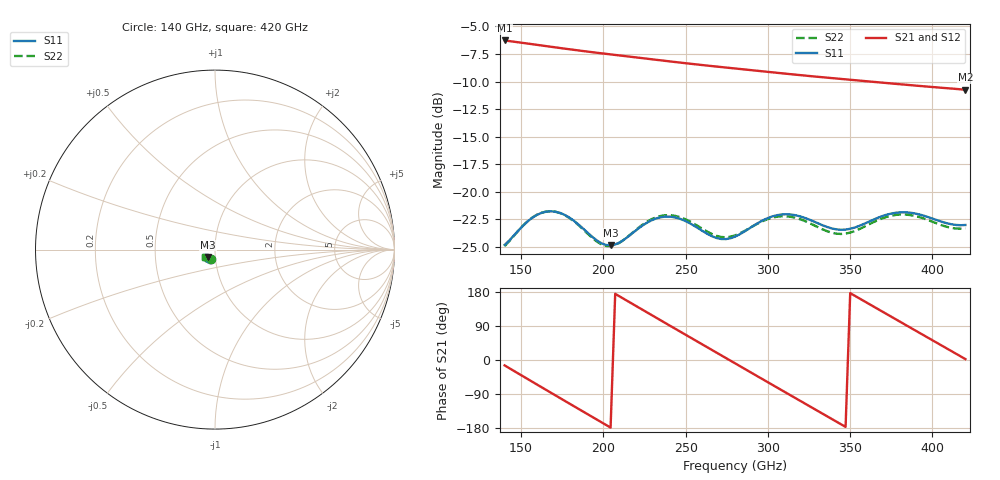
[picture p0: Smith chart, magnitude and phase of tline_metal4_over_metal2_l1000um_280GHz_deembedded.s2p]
! Created with skrf 2.2.0 (http://scikit-rf.org).
# GHz S DB R 50.0
! Port[1] = P1
! Port[2] = P2
!freq dBS11 angS11 dBS21 angS21 dBS12 angS12 dBS22 angS22
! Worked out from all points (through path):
!   101 points, 140 GHz to 420 GHz, reference 50 ohm
!   highest |S21| = -6.27 dB at 140 GHz (marker M1); lowest = -10.7 dB at 420 GHz (marker M2)
!   group delay of S21, straight-line fit = 6.97 ps
!   lowest |S11| = -24.9 dB at 204.4 GHz (marker M3), VSWR 1.12, Z = 46.1 - j3.83 ohm
!   |S11| at or under -10 dB: start of sweep to end of sweep
!   |S22| runs from -24.9 to -21.8 dB; largest |S21 - S12| = 3e-16
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140  -24.83 -117.6  -6.27 -14.2  -6.27 -14.2  -24.95 -115.1
154  -22.69 -116.7  -6.55 -50.2  -6.55 -50.2  -22.68 -114.8
165.2  -21.82 -125.9  -6.78 -78.8  -6.78 -78.8  -21.80 -124.5
176.4  -22.10 -136.0  -7.01 -107.4  -7.01 -107.4  -22.12 -135.0
187.6  -23.33 -141.7  -7.23 -135.8  -7.23 -135.8  -23.41 -140.6
204.4  -24.87 -133.4  -7.53 -178.3  -7.53 -178.3  -24.95 -131.6
218.4  -23.68 -126.2  -7.78 146.2  -7.78 146.2  -23.64 -124.3
235.2  -22.31 -133.2  -8.08 103.8  -8.08 103.8  -22.19 -131.8
246.4  -22.45 -140.3  -8.27 75.6  -8.27 75.6  -22.30 -139.2
260.4  -23.58 -143.8  -8.51 40.5  -8.51 40.5  -23.38 -143.3
280  -24.08 -133.8  -8.81 -8.7  -8.81 -8.7  -23.97 -134.8
291.2  -23.10 -131.4  -8.99 -36.7  -8.99 -36.7  -23.10 -132.6
305.2  -22.14 -136.2  -9.20 -71.8  -9.20 -71.8  -22.28 -137.4
316.4  -22.13 -141.8  -9.37 -99.7  -9.37 -99.7  -22.36 -142.8
327.6  -22.69 -145.1  -9.53 -127.7  -9.53 -127.7  -23.02 -145.7
338.8  -23.34 -143.7  -9.69 -155.6  -9.69 -155.6  -23.72 -143.5
350  -23.37 -139.3  -9.84 176.5  -9.84 176.5  -23.71 -138.1
361.2  -22.73 -137.0  -9.99 148.5  -9.99 148.5  -22.98 -135.6
375.2  -21.98 -140.1  -10.18 113.7  -10.18 113.7  -22.17 -138.9
394.8  -22.18 -147.0  -10.43 65.0  -10.43 65.0  -22.44 -146.0
408.8  -22.87 -147.0  -10.60 30.2  -10.60 30.2  -23.19 -145.4
420  -23.02 -143.7  -10.74 2.4  -10.74 2.4  -23.32 -141.2
